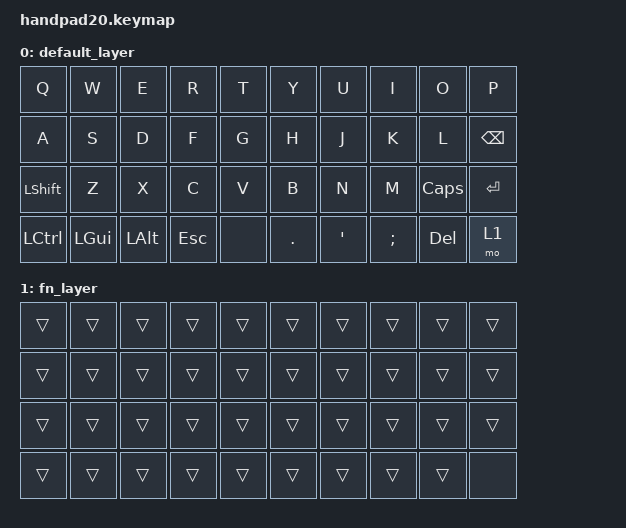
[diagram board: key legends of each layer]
#include <behaviors.dtsi>
#include <dt-bindings/zmk/keys.h>

/ {
    keymap {
        compatible = "zmk,keymap";

        default_layer {
            bindings = <
                &kp Q      &kp W     &kp E    &kp R    &kp T     &kp Y      &kp U     &kp I     &kp O    &kp P
                &kp A      &kp S     &kp D    &kp F    &kp G     &kp H      &kp J     &kp K     &kp L    &kp BSPC
                &kp LSHFT  &kp Z     &kp X    &kp C    &kp V     &kp B      &kp N     &kp M     &kp CAPS &kp ENTER
                &kp LCTRL  &kp LGUI  &kp LALT &kp ESC  &none     &kp DOT    &kp SQT   &kp SEMI  &kp DEL  &mo 1
            >;
        };

        fn_layer {
            bindings = <
                &trans  &trans  &trans  &trans  &trans  &trans  &trans  &trans  &trans  &trans
                &trans  &trans  &trans  &trans  &trans  &trans  &trans  &trans  &trans  &trans
                &trans  &trans  &trans  &trans  &trans  &trans  &trans  &trans  &trans  &trans
                &trans  &trans  &trans  &trans  &trans  &trans  &trans  &trans  &trans  &none
            >;
        };
    };
};
